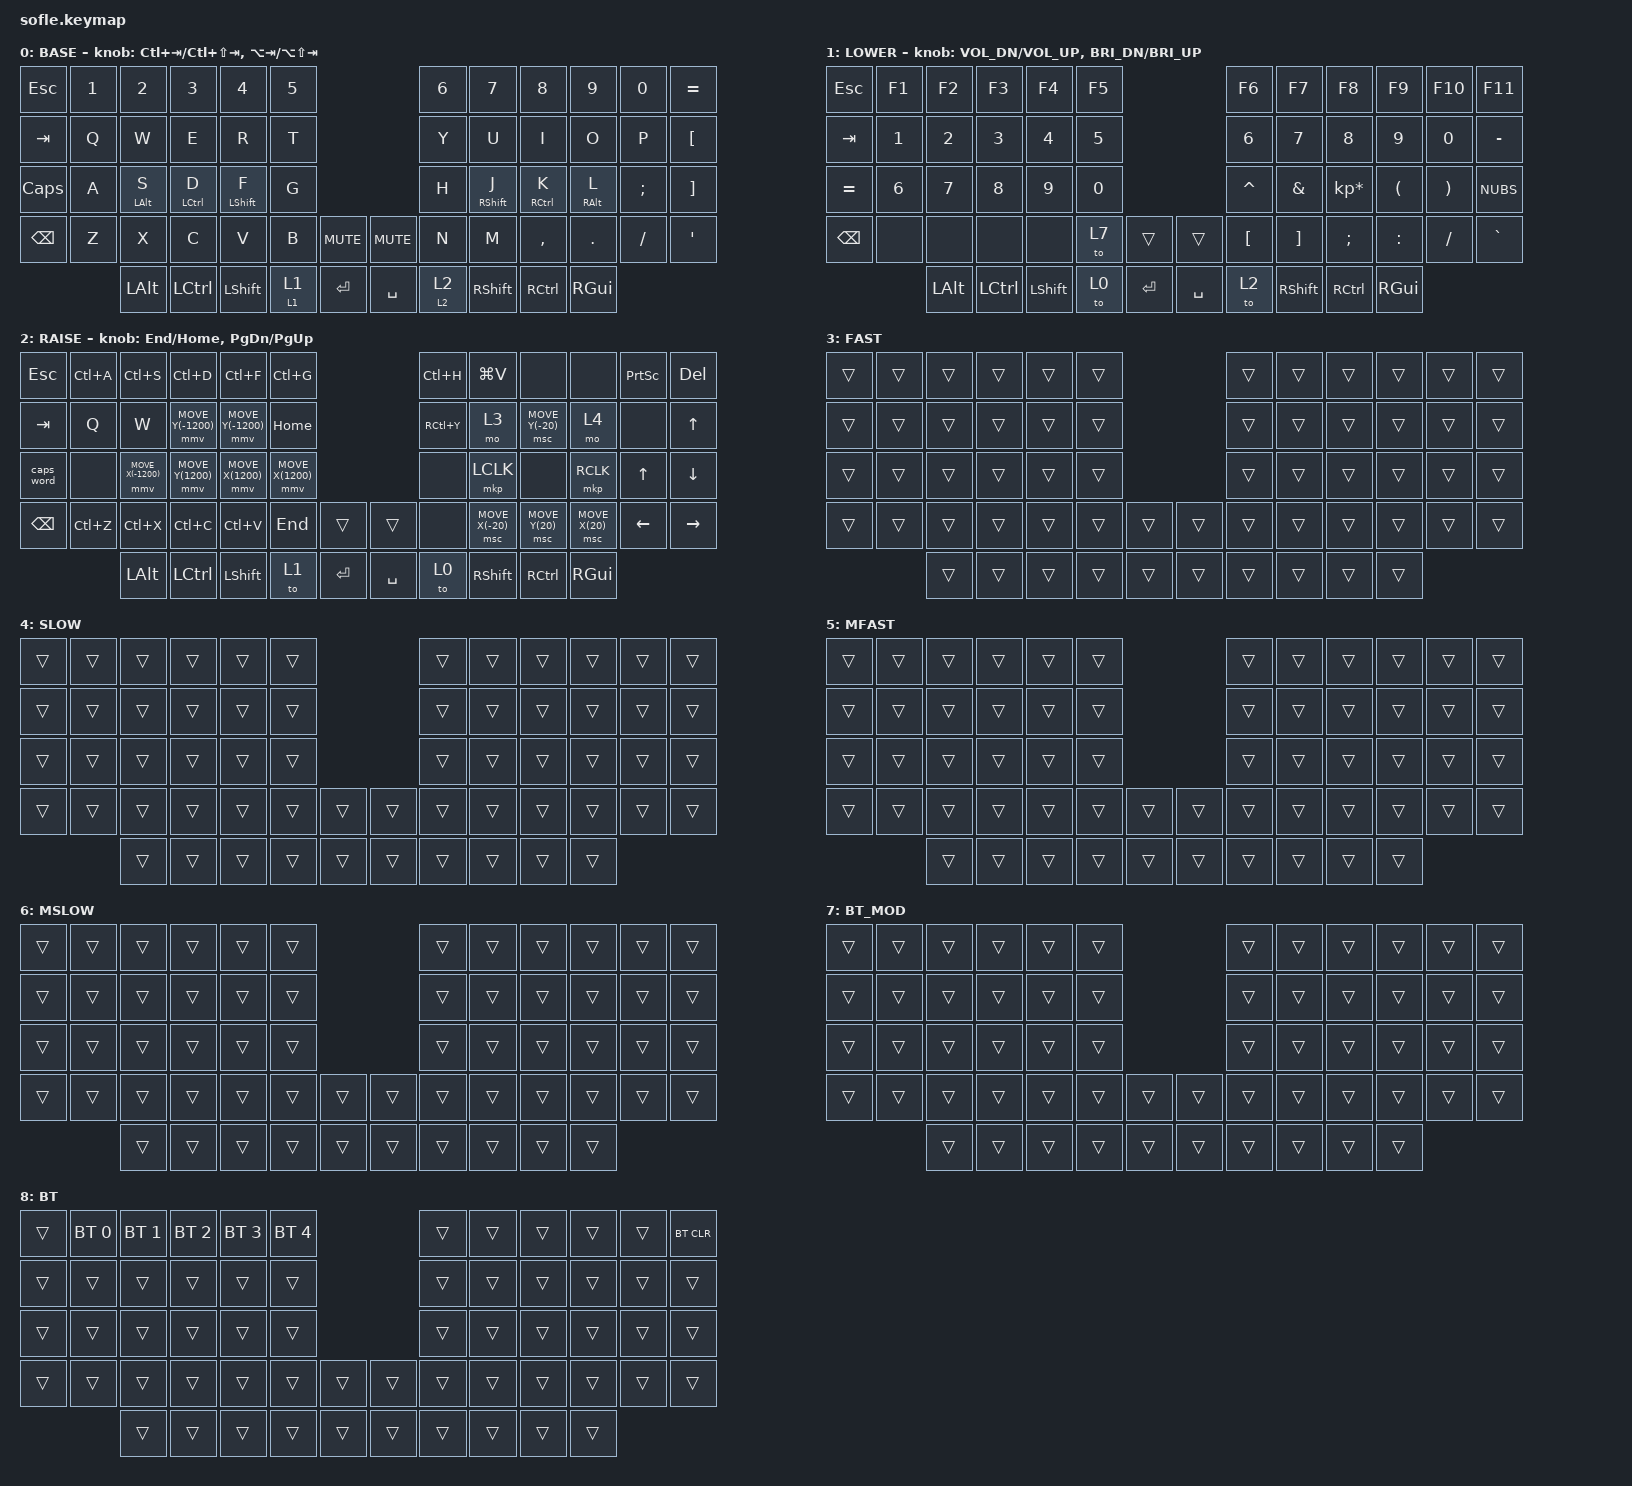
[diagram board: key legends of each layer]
#include <input/processors.dtsi>
#include <behaviors.dtsi>
#include <dt-bindings/zmk/bt.h>
#include <dt-bindings/zmk/keys.h>
#include <dt-bindings/zmk/pointing.h>

/ {
    behaviors {
        hmr: hmr {
            compatible = "zmk,behavior-hold-tap";
            label = "Home row mod right";
            bindings = <&kp>, <&kp>;

            #binding-cells = <2>;
            tapping-term-ms = <280>;
            quick-tap-ms = <175>;
            flavor = "tap-preferred";
            hold-trigger-key-positions = <0 1 2 3 4 5 12 13 14 15 16 17 24 25 26 27 28 29 36 37 38 39 40 41>;
            hold-trigger-on-release;
        };

        hml: hml {
            compatible = "zmk,behavior-hold-tap";
            label = "Home row mod left";
            bindings = <&kp>, <&kp>;

            #binding-cells = <2>;
            tapping-term-ms = <280>;
            quick-tap-ms = <175>;
            flavor = "tap-preferred";
            hold-trigger-on-release;
            hold-trigger-key-positions = <36 37 38 6 7 8 9 10 11 18 19 20 21 22 23 30 31 32 33 34 35 39 40 41>;
        };

        my_layer_tap: my_layer_tap {
            compatible = "zmk,behavior-hold-tap";
            label = "Change layer by tap";
            #binding-cells = <2>;
            tapping-term-ms = <200>;
            flavor = "tap-preferred";
            bindings = <&mo>, <&to>;
        };
    };

    conditional_layers {
        compatible = "zmk,conditional-layers";

        fast_mouse {
            if-layers = <2 3>;
            then-layer = <5>;
        };

        slow_mouse {
            if-layers = <2 4>;
            then-layer = <6>;
        };

        bt_control {
            if-layers = <1 7>;
            then-layer = <8>;
        };
    };

    keymap {
        compatible = "zmk,keymap";

        default_layer {
            display-name = "BASE";

            // ------------------------------------------------------------------------------------------------------------
            // |  ESC  |  1  |   2  |  3   |  4  |  5   |                  |  6   |  7  |  8    |  9   |   0   |   =   |
            // |  TAB  |  Q  |   W  |  E   |  R  |  T   |                  |  Y   |  U  |  I    |  O   |   P   |   {   |
            // |CAPS_W |  A  |   S  |  D   |  F  |  G   |                  |  H   |  J  |  K    |  L   |   ;   |   }   |
            // |CAPS   |  Z  |   X  |  C   |  V  |  B   | MUTE  |  | MUTE  |  N   |  M  |  ,    |  .   |   /   |   '   |
            //               | CTRL | ALT  |SHIFT| LOWER| RET   |  | SPACE | RAISE| GUI | CTRL  |SHIFT |

            bindings = <
&kp ESC        &kp N1  &kp N2           &kp N3               &kp N4             &kp N5                                       &kp N6             &kp N7              &kp N8                &kp N9            &kp N0    &kp EQUAL
&kp TAB        &kp Q   &kp W            &kp E                &kp R              &kp T                                        &kp Y              &kp U               &kp I                 &kp O             &kp P     &kp LBKT
&kp CAPS       &kp A   &hml LEFT_ALT S  &hml LEFT_CONTROL D  &hml LEFT_SHIFT F  &kp G                                        &kp H              &hmr RIGHT_SHIFT J  &hmr RIGHT_CONTROL K  &hmr RIGHT_ALT L  &kp SEMI  &kp RBKT
&kp BACKSPACE  &kp Z   &kp X            &kp C                &kp V              &kp B              &kp C_MUTE    &kp C_MUTE  &kp N              &kp M               &kp COMMA             &kp DOT           &kp FSLH  &kp SQT
                       &kp LEFT_ALT     &kp LEFT_CONTROL     &kp LSHFT          &my_layer_tap 1 1  &kp RET       &kp SPACE   &my_layer_tap 2 2  &kp RIGHT_SHIFT     &kp RCTRL             &kp RIGHT_GUI
            >;

            sensor-bindings = <&inc_dec_kp LC(TAB) LC(LS(TAB)) &inc_dec_kp LA(TAB) LA(LS(TAB))>;
        };

        lower_layer {
            display-name = "LOWER";

            // ------------------------------------------------------------------------------------------------------------
            // | ESC   |  F1 |  F2 |  F3  |  F4  |  F5  |                   |  F6  |  F7   |  F8   |  F9  |  F10  |  F11  |
            // | TAB   |   1 |   2 |   3  |   4  |   5  |                   |   6  |   7   |   8   |   9  |    0  |   -   |
            // | RAISE |  !  |  @  |  #   |  $   |  %   |                   |  ^   |  &    |  *    |  (   |   )   |   |   |
            // |       |  =  |  -  |  +   |  {   |  }   |        |  |       |  [   |  ]    |  ;    |  :   |   /   |   `   |
            //               |CTRL | ALT  |SHIFT | BASE |        |  | BKSP  |RAISE |  GUI  | CTRL  |SHIFT |

            bindings = <
&kp ESC        &kp F1        &kp F2        &kp F3            &kp F4        &kp F5                                &kp F6     &kp F7           &kp F8           &kp F9         &kp F10   &kp F11
&kp TAB        &kp NUMBER_1  &kp N2        &kp N3            &kp N4        &kp N5                                &kp N6     &kp N7           &kp N8           &kp N9         &kp N0    &kp MINUS
&kp EQUAL      &kp NUMBER_6  &kp NUMBER_7  &kp NUMBER_8      &kp NUMBER_9  &kp NUMBER_0                          &kp CARET  &kp AMPS         &kp KP_MULTIPLY  &kp LPAR       &kp RPAR  &kp NUBS
&kp BACKSPACE  &none         &none         &none             &none         &to 7         &trans       &trans     &kp LBKT   &kp RBKT         &kp SEMI         &kp COLON      &kp FSLH  &kp GRAVE
                             &kp LEFT_ALT  &kp LEFT_CONTROL  &kp LSHFT     &to 0         &kp ENTER    &kp SPACE  &to 2      &kp RIGHT_SHIFT  &kp RCTRL        &kp RIGHT_GUI
            >;

            sensor-bindings = <&inc_dec_kp C_VOL_DN C_VOL_UP &inc_dec_kp C_BRI_DN C_BRI_UP>;
        };

        raise_layer {
            display-name = "RAISE";

            // ------------------------------------------------------------------------------------------------------------
            // |      | BT1  | BT2  |  BT3  |  BT4  |  BT5 |                | BTCLR |      |       |       |       | DEL   |
            // |      |MV_L_F|MV_U_F|MV_UP  |MV_U_F |      |                | MENU  |      | SCR_U |       | PSCR  |       |
            // |CAPS_W|MV_L_F|MV_L  |MV_UP  |MV_R   |MV_R_F|                |       | LCLK | RCLK  | MCLK  | UP    | DOWN  |
            // |CAPS  |      |MV_D_F|MV_DN  |MV_D_F |      |      |  |      |       | SCR_L| SCR_D | SCR_R | LEFT  | RIGHT |
            //               |CTRL  | ALT   |SHIFT  |      |      |  |      | BASE  | GUI  | CTRL  | SHIFT |

            bindings = <
&kp ESCAPE     &kp LC(A)  &kp LC(S)           &kp LC(D)           &kp LC(F)           &kp LC(G)                                  &kp LC(H)  &kp LG(V)         &none             &none            &kp PRINTSCREEN  &kp DEL
&kp TAB        &kp Q      &kp W               &mmv MOVE_Y(-1200)  &mmv MOVE_Y(-1200)  &kp HOME                                   &kp RC(Y)  &mo 3             &msc MOVE_Y(-20)  &mo 4            &none            &kp UP_ARROW
&caps_word     &none      &mmv MOVE_X(-1200)  &mmv MOVE_Y(1200)   &mmv MOVE_X(1200)   &mmv MOVE_X(1200)                          &none      &mkp LCLK         &none             &mkp RCLK        &kp UP           &kp DOWN
&kp BACKSPACE  &kp LC(Z)  &kp LC(X)           &kp LC(C)           &kp LC(V)           &kp END            &trans       &trans     &none      &msc MOVE_X(-20)  &msc MOVE_Y(20)   &msc MOVE_X(20)  &kp LEFT         &kp RIGHT
                          &kp LEFT_ALT        &kp LEFT_CONTROL    &kp LSHFT           &to 1              &kp ENTER    &kp SPACE  &to 0      &kp RIGHT_SHIFT   &kp RCTRL         &kp RIGHT_GUI
            >;

            sensor-bindings =
                <&inc_dec_kp END HOME>,
                <&inc_dec_kp PAGE_DOWN PAGE_UP>;
        };

        fast_modifier {
            display-name = "FAST";
            bindings = <
&trans  &trans  &trans  &trans  &trans  &trans                    &trans  &trans  &trans  &trans  &trans  &trans
&trans  &trans  &trans  &trans  &trans  &trans                    &trans  &trans  &trans  &trans  &trans  &trans
&trans  &trans  &trans  &trans  &trans  &trans                    &trans  &trans  &trans  &trans  &trans  &trans
&trans  &trans  &trans  &trans  &trans  &trans  &trans    &trans  &trans  &trans  &trans  &trans  &trans  &trans
                &trans  &trans  &trans  &trans  &trans    &trans  &trans  &trans  &trans  &trans
            >;
        };

        // Layer 4: Slow speed modifier (invisible layer, just triggers conditional layer)

        slow_modifier {
            display-name = "SLOW";
            bindings = <
&trans  &trans  &trans  &trans  &trans  &trans                    &trans  &trans  &trans  &trans  &trans  &trans
&trans  &trans  &trans  &trans  &trans  &trans                    &trans  &trans  &trans  &trans  &trans  &trans
&trans  &trans  &trans  &trans  &trans  &trans                    &trans  &trans  &trans  &trans  &trans  &trans
&trans  &trans  &trans  &trans  &trans  &trans  &trans    &trans  &trans  &trans  &trans  &trans  &trans  &trans
                &trans  &trans  &trans  &trans  &trans    &trans  &trans  &trans  &trans  &trans
            >;
        };

        // Layer 5: Activated by conditional layer (RAISE + fast_modifier)
        // This layer doesn't need any keys, it just triggers the fast speed scaling

        fast_mouse_layer {
            display-name = "MFAST";
            bindings = <
&trans  &trans  &trans  &trans  &trans  &trans                    &trans  &trans  &trans  &trans  &trans  &trans
&trans  &trans  &trans  &trans  &trans  &trans                    &trans  &trans  &trans  &trans  &trans  &trans
&trans  &trans  &trans  &trans  &trans  &trans                    &trans  &trans  &trans  &trans  &trans  &trans
&trans  &trans  &trans  &trans  &trans  &trans  &trans    &trans  &trans  &trans  &trans  &trans  &trans  &trans
                &trans  &trans  &trans  &trans  &trans    &trans  &trans  &trans  &trans  &trans
            >;
        };

        // Layer 6: Activated by conditional layer (RAISE + slow_modifier)
        // This layer doesn't need any keys, it just triggers the slow/precision speed scaling

        slow_mouse_layer {
            display-name = "MSLOW";
            bindings = <
&trans  &trans  &trans  &trans  &trans  &trans                    &trans  &trans  &trans  &trans  &trans  &trans
&trans  &trans  &trans  &trans  &trans  &trans                    &trans  &trans  &trans  &trans  &trans  &trans
&trans  &trans  &trans  &trans  &trans  &trans                    &trans  &trans  &trans  &trans  &trans  &trans
&trans  &trans  &trans  &trans  &trans  &trans  &trans    &trans  &trans  &trans  &trans  &trans  &trans  &trans
                &trans  &trans  &trans  &trans  &trans    &trans  &trans  &trans  &trans  &trans
            >;
        };

        bt_modifier {
            bindings = <
&trans  &trans  &trans  &trans  &trans  &trans                    &trans  &trans  &trans  &trans  &trans  &trans
&trans  &trans  &trans  &trans  &trans  &trans                    &trans  &trans  &trans  &trans  &trans  &trans
&trans  &trans  &trans  &trans  &trans  &trans                    &trans  &trans  &trans  &trans  &trans  &trans
&trans  &trans  &trans  &trans  &trans  &trans  &trans    &trans  &trans  &trans  &trans  &trans  &trans  &trans
                &trans  &trans  &trans  &trans  &trans    &trans  &trans  &trans  &trans  &trans
            >;

            label = "BT_MOD";
        };

        bt_layer {
            bindings = <
&trans  &bt BT_SEL 0  &bt BT_SEL 1  &bt BT_SEL 2  &bt BT_SEL 3  &bt BT_SEL 4                    &trans  &trans  &trans  &trans  &trans  &bt BT_CLR
&trans  &trans        &trans        &trans        &trans        &trans                          &trans  &trans  &trans  &trans  &trans  &trans
&trans  &trans        &trans        &trans        &trans        &trans                          &trans  &trans  &trans  &trans  &trans  &trans
&trans  &trans        &trans        &trans        &trans        &trans        &trans    &trans  &trans  &trans  &trans  &trans  &trans  &trans
                      &trans        &trans        &trans        &trans        &trans    &trans  &trans  &trans  &trans  &trans
            >;

            label = "BT";
        };
    };
};

&mmv_input_listener {
    fast_mode {
        layers = <5>;
        input-processors = <&zip_xy_scaler 2 1>;
    };

    precision_mode {
        layers = <6>;
        input-processors = <&zip_xy_scaler 1 3>;
    };
};
